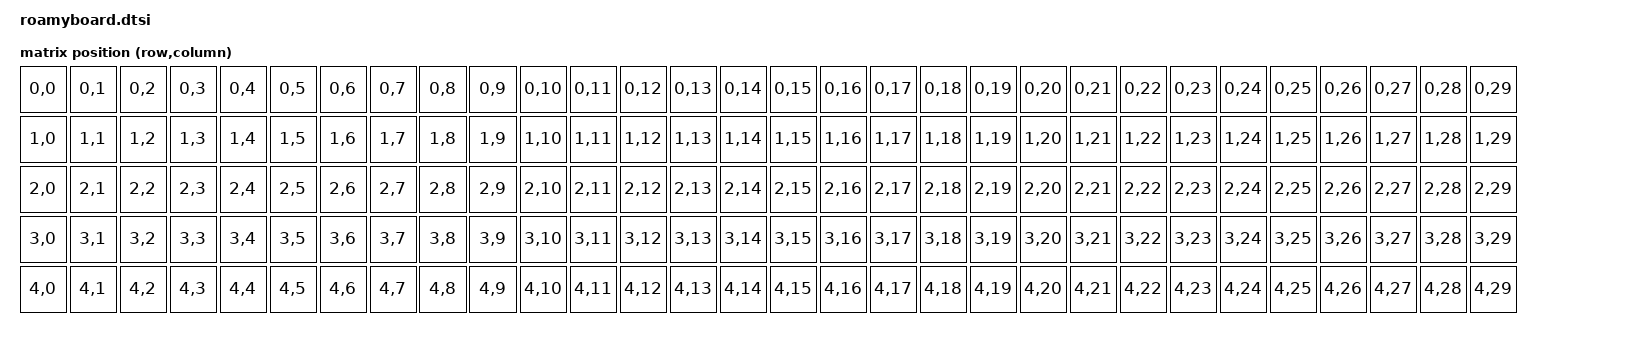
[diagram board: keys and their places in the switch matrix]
/*
 * Devicetree shared by the roamyboard shields: the MCU module's nice!nano v2
 * reads the chain over SPIM1, and every build uses the same 30 x 5 layout.
 * docs/firmware.md has the pin table and the column mapping.
 *
 * SPDX-License-Identifier: MIT
 */

#include <dt-bindings/zmk/matrix_transform.h>
#include <physical_layouts.dtsi>

/ {
    chosen {
        zmk,kscan = &roamyboard_chain;
        zmk,physical-layout = &roamyboard_layout;
    };

    // Keymap position = row * 30 + column. Each shield's kscan owns some of the columns.
    roamyboard_transform: roamyboard_transform {
        compatible = "zmk,matrix-transform";
        columns = <30>;
        rows = <5>;
        map = <
            RC(0,0) RC(0,1) RC(0,2) RC(0,3) RC(0,4) RC(0,5) RC(0,6) RC(0,7) RC(0,8) RC(0,9) RC(0,10) RC(0,11) RC(0,12) RC(0,13) RC(0,14)
            RC(0,15) RC(0,16) RC(0,17) RC(0,18) RC(0,19) RC(0,20) RC(0,21) RC(0,22) RC(0,23) RC(0,24) RC(0,25) RC(0,26) RC(0,27) RC(0,28) RC(0,29)
            RC(1,0) RC(1,1) RC(1,2) RC(1,3) RC(1,4) RC(1,5) RC(1,6) RC(1,7) RC(1,8) RC(1,9) RC(1,10) RC(1,11) RC(1,12) RC(1,13) RC(1,14)
            RC(1,15) RC(1,16) RC(1,17) RC(1,18) RC(1,19) RC(1,20) RC(1,21) RC(1,22) RC(1,23) RC(1,24) RC(1,25) RC(1,26) RC(1,27) RC(1,28) RC(1,29)
            RC(2,0) RC(2,1) RC(2,2) RC(2,3) RC(2,4) RC(2,5) RC(2,6) RC(2,7) RC(2,8) RC(2,9) RC(2,10) RC(2,11) RC(2,12) RC(2,13) RC(2,14)
            RC(2,15) RC(2,16) RC(2,17) RC(2,18) RC(2,19) RC(2,20) RC(2,21) RC(2,22) RC(2,23) RC(2,24) RC(2,25) RC(2,26) RC(2,27) RC(2,28) RC(2,29)
            RC(3,0) RC(3,1) RC(3,2) RC(3,3) RC(3,4) RC(3,5) RC(3,6) RC(3,7) RC(3,8) RC(3,9) RC(3,10) RC(3,11) RC(3,12) RC(3,13) RC(3,14)
            RC(3,15) RC(3,16) RC(3,17) RC(3,18) RC(3,19) RC(3,20) RC(3,21) RC(3,22) RC(3,23) RC(3,24) RC(3,25) RC(3,26) RC(3,27) RC(3,28) RC(3,29)
            RC(4,0) RC(4,1) RC(4,2) RC(4,3) RC(4,4) RC(4,5) RC(4,6) RC(4,7) RC(4,8) RC(4,9) RC(4,10) RC(4,11) RC(4,12) RC(4,13) RC(4,14)
            RC(4,15) RC(4,16) RC(4,17) RC(4,18) RC(4,19) RC(4,20) RC(4,21) RC(4,22) RC(4,23) RC(4,24) RC(4,25) RC(4,26) RC(4,27) RC(4,28) RC(4,29)
        >;
    };

    roamyboard_layout: roamyboard_layout {
        compatible = "zmk,physical-layout";
        display-name = "30 columns";
        transform = <&roamyboard_transform>;
        keys  //                     w   h    x    y  rot rx ry
            = <&key_physical_attrs 100 100    0   0   0  0  0>
            , <&key_physical_attrs 100 100  100   0   0  0  0>
            , <&key_physical_attrs 100 100  200   0   0  0  0>
            , <&key_physical_attrs 100 100  300   0   0  0  0>
            , <&key_physical_attrs 100 100  400   0   0  0  0>
            , <&key_physical_attrs 100 100  500   0   0  0  0>
            , <&key_physical_attrs 100 100  600   0   0  0  0>
            , <&key_physical_attrs 100 100  700   0   0  0  0>
            , <&key_physical_attrs 100 100  800   0   0  0  0>
            , <&key_physical_attrs 100 100  900   0   0  0  0>
            , <&key_physical_attrs 100 100 1000   0   0  0  0>
            , <&key_physical_attrs 100 100 1100   0   0  0  0>
            , <&key_physical_attrs 100 100 1200   0   0  0  0>
            , <&key_physical_attrs 100 100 1300   0   0  0  0>
            , <&key_physical_attrs 100 100 1400   0   0  0  0>
            , <&key_physical_attrs 100 100 1500   0   0  0  0>
            , <&key_physical_attrs 100 100 1600   0   0  0  0>
            , <&key_physical_attrs 100 100 1700   0   0  0  0>
            , <&key_physical_attrs 100 100 1800   0   0  0  0>
            , <&key_physical_attrs 100 100 1900   0   0  0  0>
            , <&key_physical_attrs 100 100 2000   0   0  0  0>
            , <&key_physical_attrs 100 100 2100   0   0  0  0>
            , <&key_physical_attrs 100 100 2200   0   0  0  0>
            , <&key_physical_attrs 100 100 2300   0   0  0  0>
            , <&key_physical_attrs 100 100 2400   0   0  0  0>
            , <&key_physical_attrs 100 100 2500   0   0  0  0>
            , <&key_physical_attrs 100 100 2600   0   0  0  0>
            , <&key_physical_attrs 100 100 2700   0   0  0  0>
            , <&key_physical_attrs 100 100 2800   0   0  0  0>
            , <&key_physical_attrs 100 100 2900   0   0  0  0>
            , <&key_physical_attrs 100 100    0 100   0  0  0>
            , <&key_physical_attrs 100 100  100 100   0  0  0>
            , <&key_physical_attrs 100 100  200 100   0  0  0>
            , <&key_physical_attrs 100 100  300 100   0  0  0>
            , <&key_physical_attrs 100 100  400 100   0  0  0>
            , <&key_physical_attrs 100 100  500 100   0  0  0>
            , <&key_physical_attrs 100 100  600 100   0  0  0>
            , <&key_physical_attrs 100 100  700 100   0  0  0>
            , <&key_physical_attrs 100 100  800 100   0  0  0>
            , <&key_physical_attrs 100 100  900 100   0  0  0>
            , <&key_physical_attrs 100 100 1000 100   0  0  0>
            , <&key_physical_attrs 100 100 1100 100   0  0  0>
            , <&key_physical_attrs 100 100 1200 100   0  0  0>
            , <&key_physical_attrs 100 100 1300 100   0  0  0>
            , <&key_physical_attrs 100 100 1400 100   0  0  0>
            , <&key_physical_attrs 100 100 1500 100   0  0  0>
            , <&key_physical_attrs 100 100 1600 100   0  0  0>
            , <&key_physical_attrs 100 100 1700 100   0  0  0>
            , <&key_physical_attrs 100 100 1800 100   0  0  0>
            , <&key_physical_attrs 100 100 1900 100   0  0  0>
            , <&key_physical_attrs 100 100 2000 100   0  0  0>
            , <&key_physical_attrs 100 100 2100 100   0  0  0>
            , <&key_physical_attrs 100 100 2200 100   0  0  0>
            , <&key_physical_attrs 100 100 2300 100   0  0  0>
            , <&key_physical_attrs 100 100 2400 100   0  0  0>
            , <&key_physical_attrs 100 100 2500 100   0  0  0>
            , <&key_physical_attrs 100 100 2600 100   0  0  0>
            , <&key_physical_attrs 100 100 2700 100   0  0  0>
            , <&key_physical_attrs 100 100 2800 100   0  0  0>
            , <&key_physical_attrs 100 100 2900 100   0  0  0>
            , <&key_physical_attrs 100 100    0 200   0  0  0>
            , <&key_physical_attrs 100 100  100 200   0  0  0>
            , <&key_physical_attrs 100 100  200 200   0  0  0>
            , <&key_physical_attrs 100 100  300 200   0  0  0>
            , <&key_physical_attrs 100 100  400 200   0  0  0>
            , <&key_physical_attrs 100 100  500 200   0  0  0>
            , <&key_physical_attrs 100 100  600 200   0  0  0>
            , <&key_physical_attrs 100 100  700 200   0  0  0>
            , <&key_physical_attrs 100 100  800 200   0  0  0>
            , <&key_physical_attrs 100 100  900 200   0  0  0>
            , <&key_physical_attrs 100 100 1000 200   0  0  0>
            , <&key_physical_attrs 100 100 1100 200   0  0  0>
            , <&key_physical_attrs 100 100 1200 200   0  0  0>
            , <&key_physical_attrs 100 100 1300 200   0  0  0>
            , <&key_physical_attrs 100 100 1400 200   0  0  0>
            , <&key_physical_attrs 100 100 1500 200   0  0  0>
            , <&key_physical_attrs 100 100 1600 200   0  0  0>
            , <&key_physical_attrs 100 100 1700 200   0  0  0>
            , <&key_physical_attrs 100 100 1800 200   0  0  0>
            , <&key_physical_attrs 100 100 1900 200   0  0  0>
            , <&key_physical_attrs 100 100 2000 200   0  0  0>
            , <&key_physical_attrs 100 100 2100 200   0  0  0>
            , <&key_physical_attrs 100 100 2200 200   0  0  0>
            , <&key_physical_attrs 100 100 2300 200   0  0  0>
            , <&key_physical_attrs 100 100 2400 200   0  0  0>
            , <&key_physical_attrs 100 100 2500 200   0  0  0>
            , <&key_physical_attrs 100 100 2600 200   0  0  0>
            , <&key_physical_attrs 100 100 2700 200   0  0  0>
            , <&key_physical_attrs 100 100 2800 200   0  0  0>
            , <&key_physical_attrs 100 100 2900 200   0  0  0>
            , <&key_physical_attrs 100 100    0 300   0  0  0>
            , <&key_physical_attrs 100 100  100 300   0  0  0>
            , <&key_physical_attrs 100 100  200 300   0  0  0>
            , <&key_physical_attrs 100 100  300 300   0  0  0>
            , <&key_physical_attrs 100 100  400 300   0  0  0>
            , <&key_physical_attrs 100 100  500 300   0  0  0>
            , <&key_physical_attrs 100 100  600 300   0  0  0>
            , <&key_physical_attrs 100 100  700 300   0  0  0>
            , <&key_physical_attrs 100 100  800 300   0  0  0>
            , <&key_physical_attrs 100 100  900 300   0  0  0>
            , <&key_physical_attrs 100 100 1000 300   0  0  0>
            , <&key_physical_attrs 100 100 1100 300   0  0  0>
            , <&key_physical_attrs 100 100 1200 300   0  0  0>
            , <&key_physical_attrs 100 100 1300 300   0  0  0>
            , <&key_physical_attrs 100 100 1400 300   0  0  0>
            , <&key_physical_attrs 100 100 1500 300   0  0  0>
            , <&key_physical_attrs 100 100 1600 300   0  0  0>
            , <&key_physical_attrs 100 100 1700 300   0  0  0>
            , <&key_physical_attrs 100 100 1800 300   0  0  0>
            , <&key_physical_attrs 100 100 1900 300   0  0  0>
            , <&key_physical_attrs 100 100 2000 300   0  0  0>
            , <&key_physical_attrs 100 100 2100 300   0  0  0>
            , <&key_physical_attrs 100 100 2200 300   0  0  0>
            , <&key_physical_attrs 100 100 2300 300   0  0  0>
            , <&key_physical_attrs 100 100 2400 300   0  0  0>
            , <&key_physical_attrs 100 100 2500 300   0  0  0>
            , <&key_physical_attrs 100 100 2600 300   0  0  0>
            , <&key_physical_attrs 100 100 2700 300   0  0  0>
            , <&key_physical_attrs 100 100 2800 300   0  0  0>
            , <&key_physical_attrs 100 100 2900 300   0  0  0>
            , <&key_physical_attrs 100 100    0 400   0  0  0>
            , <&key_physical_attrs 100 100  100 400   0  0  0>
            , <&key_physical_attrs 100 100  200 400   0  0  0>
            , <&key_physical_attrs 100 100  300 400   0  0  0>
            , <&key_physical_attrs 100 100  400 400   0  0  0>
            , <&key_physical_attrs 100 100  500 400   0  0  0>
            , <&key_physical_attrs 100 100  600 400   0  0  0>
            , <&key_physical_attrs 100 100  700 400   0  0  0>
            , <&key_physical_attrs 100 100  800 400   0  0  0>
            , <&key_physical_attrs 100 100  900 400   0  0  0>
            , <&key_physical_attrs 100 100 1000 400   0  0  0>
            , <&key_physical_attrs 100 100 1100 400   0  0  0>
            , <&key_physical_attrs 100 100 1200 400   0  0  0>
            , <&key_physical_attrs 100 100 1300 400   0  0  0>
            , <&key_physical_attrs 100 100 1400 400   0  0  0>
            , <&key_physical_attrs 100 100 1500 400   0  0  0>
            , <&key_physical_attrs 100 100 1600 400   0  0  0>
            , <&key_physical_attrs 100 100 1700 400   0  0  0>
            , <&key_physical_attrs 100 100 1800 400   0  0  0>
            , <&key_physical_attrs 100 100 1900 400   0  0  0>
            , <&key_physical_attrs 100 100 2000 400   0  0  0>
            , <&key_physical_attrs 100 100 2100 400   0  0  0>
            , <&key_physical_attrs 100 100 2200 400   0  0  0>
            , <&key_physical_attrs 100 100 2300 400   0  0  0>
            , <&key_physical_attrs 100 100 2400 400   0  0  0>
            , <&key_physical_attrs 100 100 2500 400   0  0  0>
            , <&key_physical_attrs 100 100 2600 400   0  0  0>
            , <&key_physical_attrs 100 100 2700 400   0  0  0>
            , <&key_physical_attrs 100 100 2800 400   0  0  0>
            , <&key_physical_attrs 100 100 2900 400   0  0  0>
            ;
    };
};

// VCC powers the chain. Hold it on, so that nothing can switch it off.
&{/EXT_POWER} {
    status = "disabled";
};

&gpio0 {
    vcc_on: vcc-on {
        gpio-hog;
        gpios = <13 GPIO_ACTIVE_HIGH>; // nice!nano v2: P0.13 high switches VCC on
        output-high;
    };
};

&pinctrl {
    roamyboard_chain_default: roamyboard_chain_default {
        group1 {
            psels = <NRF_PSEL(SPIM_SCK, 1, 13)>;
        };
        group2 {
            psels = <NRF_PSEL(SPIM_MISO, 1, 11)>;
            bias-pull-up; // an MCU module with nothing attached reads as zero key modules
        };
    };

    roamyboard_chain_sleep: roamyboard_chain_sleep {
        group1 {
            psels = <NRF_PSEL(SPIM_SCK, 1, 13)>,
                <NRF_PSEL(SPIM_MISO, 1, 11)>;
            low-power-enable;
        };
    };
};

// Not spi0: the nice!view uses it, and it shares its peripheral with i2c0.
&spi1 {
    status = "okay";
    pinctrl-0 = <&roamyboard_chain_default>;
    pinctrl-1 = <&roamyboard_chain_sleep>;
    pinctrl-names = "default", "sleep";

    roamyboard_chain: kscan@0 {
        compatible = "roamyboard,kscan-165-chain";
        reg = <0>;
        spi-max-frequency = <1000000>;
        spi-cpol; // mode 2: sample on the falling edge, between the 165's rising-edge shifts
        load-gpios = <&pro_micro 18 GPIO_ACTIVE_LOW>; // D18, P1.15
        debounce-press-ms = <1>;
        debounce-release-ms = <10>;
        // columns and anchor come from each shield
    };
};
